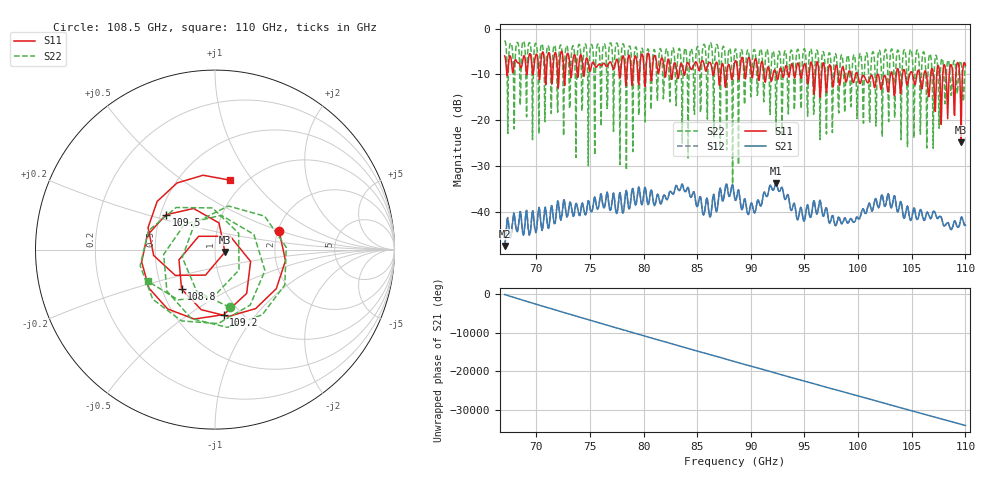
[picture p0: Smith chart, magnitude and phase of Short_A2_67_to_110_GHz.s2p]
#  HZ  S  MA  R  50.00
! Rohde & Schwarz ZVA67 4Ports - Version 4.11 - 1305.7002k04 SN: 101051
! Date: 2023-09-13 17:17:42
! Measurements: S11 S21 S12 S22
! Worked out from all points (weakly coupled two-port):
!   860 points, 67.05 GHz to 110 GHz, reference 50 ohm
!   highest |S21| = -33.78 dB at 92.35 GHz (marker M1); lowest = -47.5 dB at 67.05 GHz (marker M2)
!   lowest |S11| = -24.9 dB at 109.6 GHz (marker M3), VSWR 1.12, Z = 55.9 - j1.53 ohm
!   |S11| at or under -10 dB: 99.34647 GHz to 99.75929 GHz (412.8 MHz wide, 0.415 % of centre); 99.96 GHz to 101.8 GHz (1.843 GHz wide, 1.83 % of centre); 101.9 GHz to 103 GHz (1.162 GHz wide, 1.13 % of centre) (the widest 3 of 57)
!   |S22| runs from -34.0 to -2.6 dB; largest |S21 - S12| = 0.0023
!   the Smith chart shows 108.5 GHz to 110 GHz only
!   S11 on the Smith chart (normalised r, x): 108.5 GHz: 2.03, +0.49; 108.8 GHz: 0.63, -0.30; 109.2 GHz: 0.84, -0.70; 109.5 GHz: 0.53, +0.23; 110 GHz: 0.85, +0.78
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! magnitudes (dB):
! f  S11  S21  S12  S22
! 67.05 GHz  -6.0  -47.5  -47.6  -2.6
! 67.9 GHz  -8.4  -40.3  -40.5  -13.9
! 68.8 GHz  -6.2  -45.2  -44.9  -2.7
! 74.25 GHz  -6.4  -38.3  -38.2  -18.0
! 77.5 GHz  -6.7  -40.4  -40.4  -3.1
! 78.4 GHz  -11.6  -35.4  -35.4  -30.9
! 78.7 GHz  -6.0  -39.3  -39.3  -3.8
! 78.95 GHz  -12.4  -35.0  -35.0  -13.0
! 81.4 GHz  -9.8  -36.6  -36.6  -7.5
! 84.2 GHz  -7.7  -35.0  -35.0  -14.3
! 86.25 GHz  -7.5  -41.0  -40.9  -3.1
! 88.3 GHz  -10.6  -34.1  -34.1  -34.0
! 88.55 GHz  -7.0  -37.5  -37.5  -4.5
! 92.35 GHz  -9.9  -33.8  -33.8  -22.7
! 95.7 GHz  -7.8  -39.9  -39.9  -5.7
! 102.8 GHz  -13.3  -36.3  -36.2  -20.3
! 108.5 GHz  -8.6  -43.4  -43.5  -9.6
! 108.8 GHz  -10.8  -43.2  -43.1  -8.0
! 109.2 GHz  -8.7  -42.8  -42.8  -10.8
! 109.5 GHz  -9.5  -42.9  -42.9  -7.7
! 109.6 GHz  -24.9  -41.3  -41.3  -7.4
! 110 GHz  -8.1  -42.9  -42.9  -7.7
